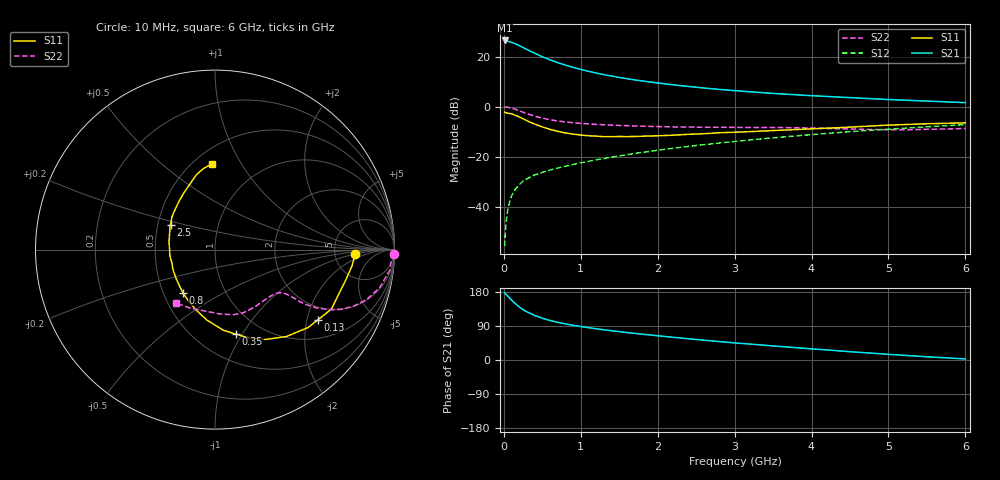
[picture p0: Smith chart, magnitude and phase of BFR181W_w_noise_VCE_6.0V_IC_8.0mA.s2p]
! Infineon Technologies  Discrete & RF Semiconductors
! BFR181W
! VCE =  6.0 V,  IC =  8.0 mA
! Common Emitter S-Parameters:  Jan 2017
# GHz  S  MA  R  50
!  f  S11  S21  S12  S22
! GHz  MAG  ANG  MAG  ANG  MAG  ANG  MAG  ANG
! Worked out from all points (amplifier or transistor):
!   77 points, 10 MHz to 6 GHz, reference 50 ohm
!   highest |S21| = 26.6 dB at 10 MHz (marker M1)
!   |S21| within 3 dB of that: start of sweep to 261.2 MHz
!   unconditionally stable (mu >= 1): 1.144 GHz to 3.105 GHz
!   at 130 MHz: K = 0.23, MSG = 29.8 dB, |S12| = -34.1 dB
!   at 2.2 GHz: K = 1.06, MAG = 11.2 dB, |S12| = -16.7 dB
!   at 6 GHz: K = 0.85, MSG = 4.4 dB, |S12| = -7.2 dB
!   lowest NFmin = 1.14 dB at 450 MHz
!   S11 on the Smith chart (normalised r, x): 10 MHz: 8.07, -1.08; 130 MHz: 1.54, -2.32; 350 MHz: 0.76, -0.94; 800 MHz: 0.63, -0.33; 2.5 GHz: 0.58, +0.18; 6 GHz: 0.61, +0.76
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0.01  0.7829 -1.9  21.45 178.0  0.0016 77.7  0.9957 -1.3
0.02  0.7687 -6.7  21.16 175.0  0.003 94.2  0.9854 -2.5
0.05  0.7467 -13.6  20.72 168.8  0.0084 83.8  0.9807 -6.7
0.09  0.7287 -24.4  19.86 160.3  0.0146 78.6  0.9487 -11.7
0.13  0.6934 -34.5  18.88 152.6  0.0198 73.8  0.9102 -16.0
0.15  0.677 -39.8  18.42 148.7  0.0223 71.8  0.8905 -18.2
0.2  0.6272 -50.5  16.92 140.1  0.0275 68.2  0.8339 -22.2
0.25  0.5756 -60.4  15.51 132.9  0.0325 64.6  0.7803 -25.2
0.3  0.5257 -69.3  14.12 126.9  0.0359 62.6  0.7293 -27.4
0.35  0.4849 -76.1  12.97 122.6  0.0394 61.8  0.6897 -28.6
0.4  0.452 -84.0  11.9 117.4  0.043 61.2  0.6505 -29.9
0.5  0.3951 -96.6  10.11 110.2  0.0482 59.9  0.5929 -31.1
0.6  0.3526 -107.4  8.763 104.3  0.0539 59.9  0.5512 -31.5
0.8  0.2993 -126.7  6.87 95.2  0.0642 61.9  0.4968 -31.7
1.1  0.2628 -149.5  5.166 85.3  0.0806 63.5  0.4543 -32.4
1.5  0.2539 -172.9  3.888 74.8  0.1033 65.0  0.4228 -35.0
2.1  0.2658 162.6  2.88 62.0  0.1407 65.1  0.3986 -42.4
2.5  0.2845 150.6  2.471 54.2  0.1672 64.1  0.3909 -48.9
3.1  0.3133 135.6  2.06 43.6  0.209 61.8  0.3862 -59.0
4.1  0.3669 116.9  1.643 27.9  0.2845 55.7  0.3725 -76.6
5.1  0.4347 102.8  1.381 13.7  0.3645 47.7  0.3468 -101.6
6  0.477 92.1  1.214 2.8  0.4388 39.4  0.3687 -126.1
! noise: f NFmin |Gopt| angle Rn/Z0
0.45  1.14  0.2  16  0.21
0.9  1.18  0.19  31  0.21
1.9  1.6  0.07  92  0.2
2.4  1.76  0.06  100  0.23
